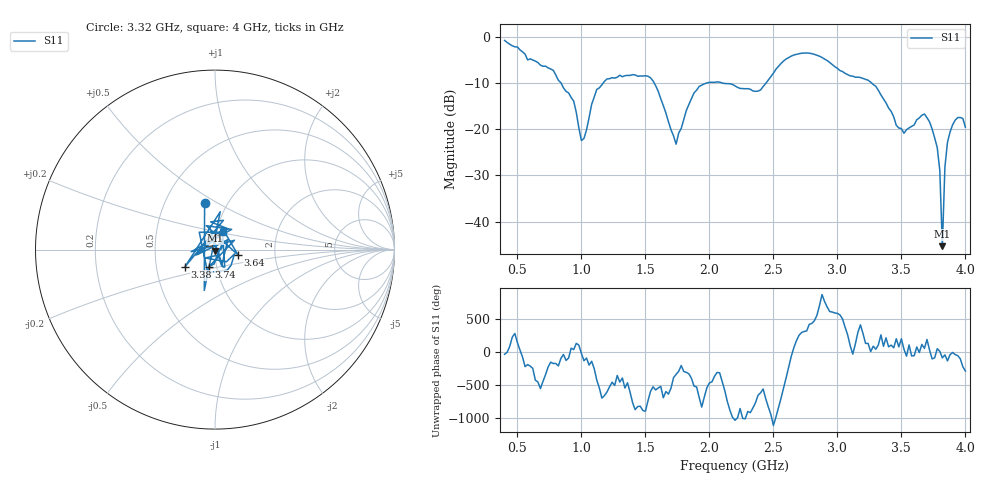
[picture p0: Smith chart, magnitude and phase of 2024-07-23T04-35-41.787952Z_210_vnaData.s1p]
!Created with skrf (http://scikit-rf.org).
# Hz S RI R 50.0
!freq ReS11 ImS11
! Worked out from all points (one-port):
!   181 points, 400 MHz to 4 GHz, reference 50 ohm
!   lowest |S11| = -45.3 dB at 3.82 GHz (marker M1), VSWR 1.01, Z = 50 - j0.54 ohm
!   |S11| at or under -10 dB: 1.569 GHz to 1.979 GHz (410.1 MHz wide, 23.1 % of centre); 2.101 GHz to 2.443 GHz (341.6 MHz wide, 15 % of centre); 3.267 GHz to end of sweep (the widest 3 of 4)
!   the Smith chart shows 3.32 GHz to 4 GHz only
!   S11 on the Smith chart (normalised r, x): 3.32 GHz: 0.78, +0.43; 3.38 GHz: 0.70, -0.14; 3.64 GHz: 1.29, -0.08; 3.74 GHz: 0.92, -0.18; 4 GHz: 1.07, +0.21
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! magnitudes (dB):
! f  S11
! 400 MHz  -0.8
! 780 MHz  -7.2
! 860 MHz  -11.1
! 940 MHz  -13.9
! 1 GHz  -22.4
! 1.12 GHz  -11.4
! 1.3 GHz  -8.3
! 1.54 GHz  -8.9
! 1.74 GHz  -23.2
! 1.76 GHz  -20.8
! 1.92 GHz  -10.7
! 2.2 GHz  -10.6
! 2.4 GHz  -11.5
! 2.66 GHz  -3.9
! 3.1 GHz  -8.4
! 3.32 GHz  -11.6
! 3.38 GHz  -14.3
! 3.46 GHz  -19.2
! 3.56 GHz  -19.7
! 3.64 GHz  -17.6
! 3.74 GHz  -19.9
! 3.78 GHz  -24.0
! 3.8 GHz  -28.9
! 3.82 GHz  -45.3
! 3.84 GHz  -28.2
! 3.86 GHz  -22.8
! 3.94 GHz  -17.5
! 4 GHz  -19.6
